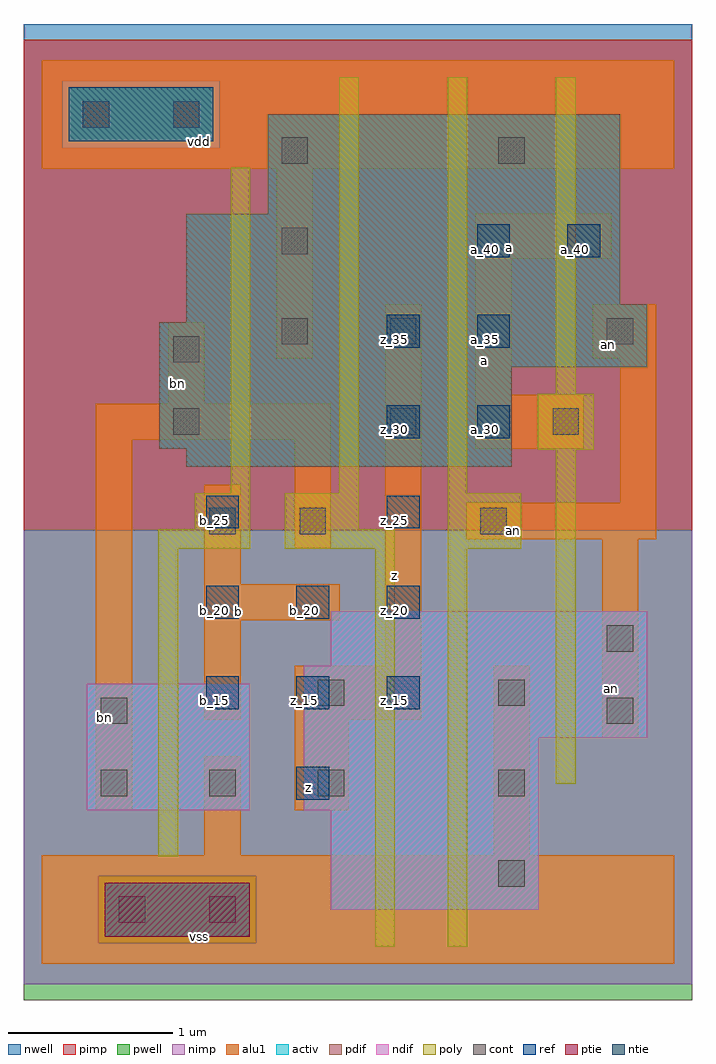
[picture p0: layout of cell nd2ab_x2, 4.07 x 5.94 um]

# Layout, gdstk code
import gdstk
lib = gdstk.Library(unit=1e-6, precision=2.5e-09)
def R(c, l, rs):  # rectangles x0, y0, x1, y1
    for r in rs: c.add(gdstk.rectangle(r[:2], r[2:], *l))
def A(c, l, x, y, w, h, nx, ny, dx, dy):  # array of equal rectangles
    R(c, l, [(x+i*dx, y+j*dy, x+i*dx+w, y+j*dy+h) for i in range(nx) for j in range(ny)])
ndif = (3, 0)
pdif = (4, 0)
ntie = (5, 0)
ptie = (6, 0)
ref = (24, 0)
cont = (25, 0)
pwell = (41, 0)
nwell = (42, 0)
activ = (43, 0)
pimp = (44, 0)
nimp = (45, 0)
poly = (46, 0)
alu1 = (49, 0)

nd2ab_x2 = lib.new_cell('nd2ab_x2')
R(nd2ab_x2, ndif, [(1.76,0.33,3.025,0.935), (0.275,0.935,1.265,1.705), (1.595,0.935,3.025,1.375), (1.595,1.375,3.685,1.815), (1.76,1.815,3.685,2.145)])
R(nd2ab_x2, pdif, [(0.88,3.025,2.86,3.135), (0.715,3.135,2.86,3.63), (0.715,3.63,3.685,3.905), (0.88,3.905,3.685,4.015), (0.88,4.015,3.52,4.565), (1.375,4.565,3.52,5.17)])
R(nd2ab_x2, ntie, [(0.165,5.005,1.045,5.335)])
R(nd2ab_x2, ptie, [(0.385,0.165,1.265,0.495)])
A(nd2ab_x2, ref, 1, 1.55, 0.2, 0.2, 3, 2, 0.55, 0.55)
A(nd2ab_x2, ref, 2.1, 2.65, 0.2, 0.2, 1, 3, 0, 0.55)
A(nd2ab_x2, ref, 2.65, 3.2, 0.2, 0.2, 1, 3, 0, 0.55)
R(nd2ab_x2, ref, [(1.55,1,1.75,1.2), (1,2.65,1.2,2.85), (3.2,4.3,3.4,4.5)])
A(nd2ab_x2, cont, 2.78, 0.47, 0.16, 0.16, 1, 3, 0, 0.55)
A(nd2ab_x2, cont, 0.36, 1.02, 0.16, 0.16, 3, 1, 0.66, 0)
A(nd2ab_x2, cont, 1.46, 3.77, 0.16, 0.16, 1, 3, 0, 0.55)
R(nd2ab_x2, cont, [(0.47,0.25,0.63,0.41), (1.02,0.25,1.18,0.41), (0.36,1.46,0.52,1.62), (3.44,1.46,3.6,1.62), (1.68,1.57,1.84,1.73), (3.44,1.9,3.6,2.06), (1.02,2.615,1.18,2.775), (1.57,2.615,1.73,2.775), (2.67,2.615,2.83,2.775), (0.8,3.22,0.96,3.38), (2.12,3.22,2.28,3.38), (3.11,3.22,3.27,3.38), (0.8,3.66,0.96,3.82), (2.12,3.77,2.28,3.93), (3.44,3.77,3.6,3.93), (2.78,4.87,2.94,5.03), (0.25,5.09,0.41,5.25), (0.8,5.09,0.96,5.25)])
R(nd2ab_x2, pwell, [(-0.11,-0.22,3.96,2.64)])
R(nd2ab_x2, nwell, [(-0.11,2.64,3.96,5.72)])
R(nd2ab_x2, activ, [(0.385,0.165,1.265,0.495), (1.76,0.33,3.025,0.935), (0.275,0.935,1.265,1.705), (1.595,0.935,3.025,1.375), (1.595,1.375,3.685,1.815), (1.76,1.815,3.685,2.145), (0.88,3.025,2.86,3.135), (0.715,3.135,2.86,3.63), (0.715,3.63,3.685,3.905), (0.88,3.905,3.685,4.015), (0.88,4.015,3.52,4.565), (1.375,4.565,3.52,5.17), (0.165,5.005,1.045,5.335)])
R(nd2ab_x2, pimp, [(0.345,0.125,1.305,0.535), (-0.11,2.64,3.96,4.965), (-0.11,4.965,0.125,5.375), (1.085,4.965,3.96,5.375), (-0.11,5.375,3.96,5.625)])
R(nd2ab_x2, nimp, [(-0.11,-0.125,3.96,0.125), (-0.11,0.125,0.345,0.535), (1.305,0.125,3.96,0.535), (-0.11,0.535,3.96,2.64), (0.125,4.965,1.085,5.375)])
R(nd2ab_x2, poly, [(2.03,0.105,2.15,2.525), (2.47,0.105,2.59,2.525), (0.71,0.655,0.83,2.525), (3.13,1.095,3.25,3.13), (0.71,2.525,1.27,2.645), (1.48,2.525,2.15,2.645), (2.47,2.525,2.92,2.865), (0.93,2.645,1.27,2.865), (1.48,2.645,1.93,2.865), (1.15,2.865,1.27,4.845), (1.81,2.865,1.93,5.395), (2.47,2.865,2.59,5.395), (3.02,3.13,3.36,3.47), (3.13,3.47,3.25,5.395)])
A(nd2ab_x2, alu1, 0.99, 0.66, 0.22, 0.605, 1, 3, 0, 0.825)
R(nd2ab_x2, alu1, [(0,0,3.85,0.66), (2.75,0.66,2.97,1.815), (0.33,0.935,0.55,3.19), (1.54,0.935,1.87,1.485), (3.41,1.375,3.63,2.585), (1.54,1.485,2.31,1.815), (2.09,1.815,2.31,4.015), (0.99,2.09,1.815,2.31), (1.54,2.53,1.76,3.19), (2.585,2.585,3.74,2.805), (3.52,2.805,3.74,3.685), (2.64,3.135,3.3,3.465), (0.33,3.19,1.76,3.41), (0.77,3.41,0.99,3.905), (2.64,3.465,2.86,4.29), (1.43,3.685,1.65,4.84), (3.355,3.685,3.74,4.015), (2.64,4.29,3.465,4.565), (0,4.84,3.85,5.5)])
nd2ab_x2.add(gdstk.Label('vss', (0.9625,0.165), layer=49, texttype=0))
nd2ab_x2.add(gdstk.Label('an', (3.465,1.6775), layer=49, texttype=0))
nd2ab_x2.add(gdstk.Label('z', (1.6225,1.0725), layer=49, texttype=0))
nd2ab_x2.add(gdstk.Label('an', (2.8725,2.64), layer=49, texttype=0))
nd2ab_x2.add(gdstk.Label('an', (3.45,3.7675), layer=49, texttype=0))
nd2ab_x2.add(gdstk.Label('a', (2.695,3.67), layer=49, texttype=0))
nd2ab_x2.add(gdstk.Label('z', (2.145,2.365), layer=49, texttype=0))
nd2ab_x2.add(gdstk.Label('b', (1.195,2.145), layer=49, texttype=0))
nd2ab_x2.add(gdstk.Label('bn', (0.385,1.4975), layer=49, texttype=0))
nd2ab_x2.add(gdstk.Label('a', (2.845,4.3575), layer=49, texttype=0))
nd2ab_x2.add(gdstk.Label('bn', (0.825,3.5325), layer=49, texttype=0))
nd2ab_x2.add(gdstk.Label('vdd', (0.9625,5.005), layer=49, texttype=0))
nd2ab_x2.add(gdstk.Label('b_20', (1.6,2.15), layer=24, texttype=0))
nd2ab_x2.add(gdstk.Label('b_25', (1.05,2.7), layer=24, texttype=0))
nd2ab_x2.add(gdstk.Label('z_15', (1.6,1.6), layer=24, texttype=0))
nd2ab_x2.add(gdstk.Label('a_40', (3.25,4.35), layer=24, texttype=0))
nd2ab_x2.add(gdstk.Label('a_40', (2.7,4.35), layer=24, texttype=0))
nd2ab_x2.add(gdstk.Label('a_35', (2.7,3.8), layer=24, texttype=0))
nd2ab_x2.add(gdstk.Label('a_30', (2.7,3.25), layer=24, texttype=0))
nd2ab_x2.add(gdstk.Label('b_20', (1.05,2.15), layer=24, texttype=0))
nd2ab_x2.add(gdstk.Label('b_15', (1.05,1.6), layer=24, texttype=0))
nd2ab_x2.add(gdstk.Label('z_10', (1.6,1.05), layer=24, texttype=0))
nd2ab_x2.add(gdstk.Label('z_15', (2.15,1.6), layer=24, texttype=0))
nd2ab_x2.add(gdstk.Label('z_20', (2.15,2.15), layer=24, texttype=0))
nd2ab_x2.add(gdstk.Label('z_25', (2.15,2.7), layer=24, texttype=0))
nd2ab_x2.add(gdstk.Label('z_30', (2.15,3.25), layer=24, texttype=0))
nd2ab_x2.add(gdstk.Label('z_35', (2.15,3.8), layer=24, texttype=0))

lib.write_gds('nd2ab_x2.gds')
